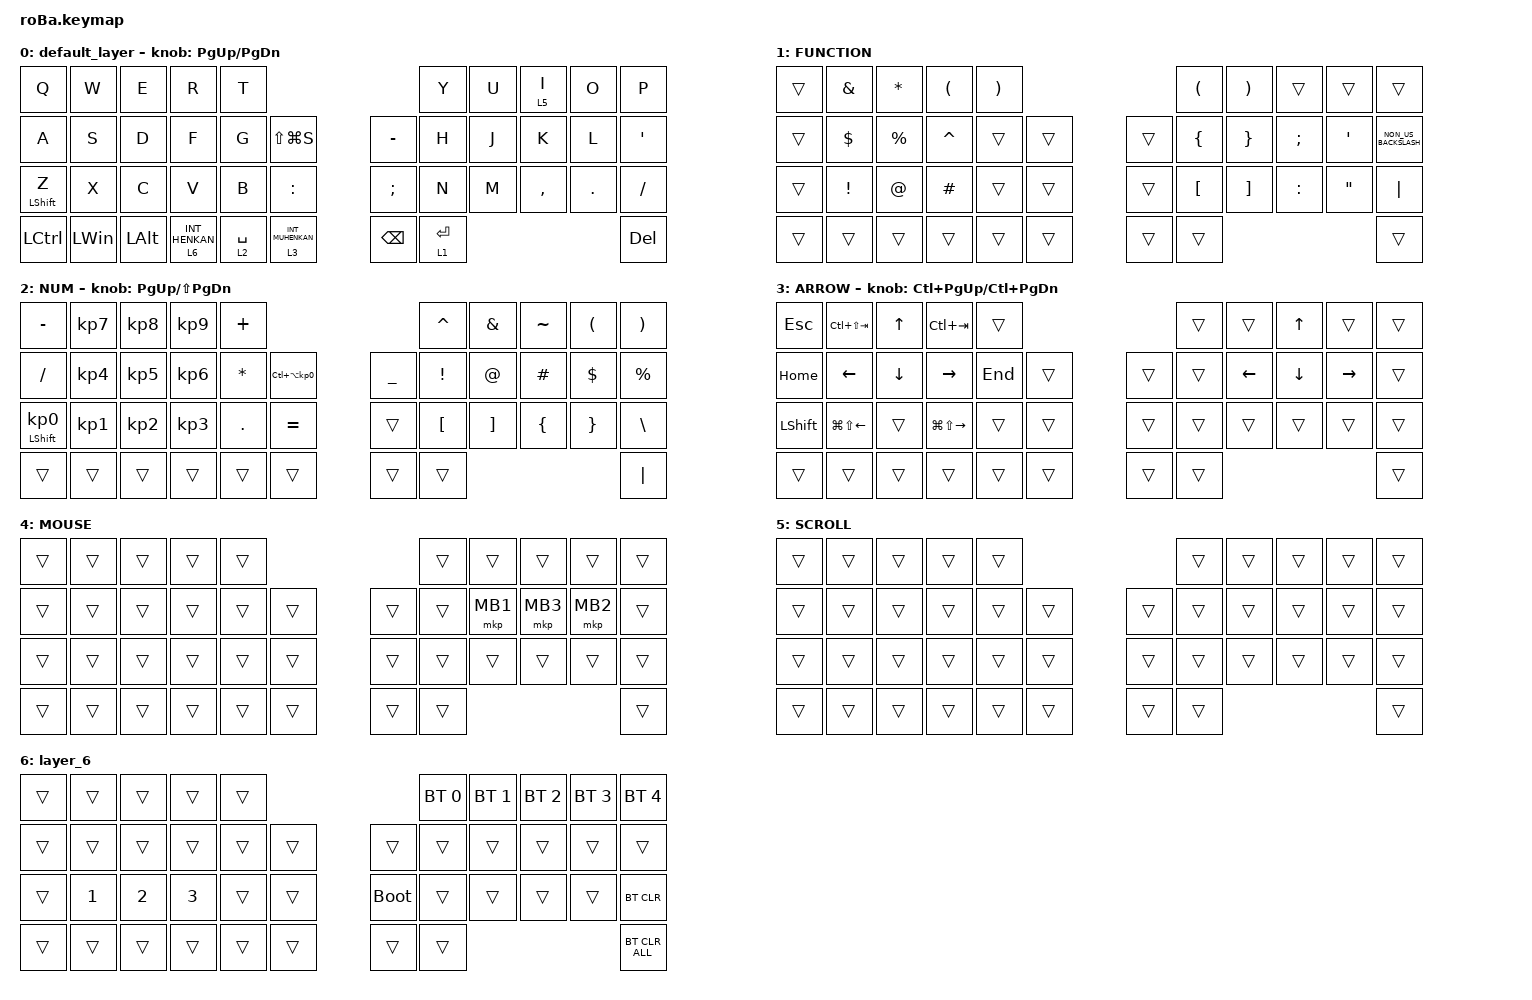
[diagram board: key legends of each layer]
#include <behaviors.dtsi>
#include <dt-bindings/zmk/bt.h>
#include <dt-bindings/zmk/keys.h>
#include <dt-bindings/zmk/pointing.h>

#define MOUSE 4
#define SCROLL 5
#define NUM 6

&mt {
    flavor = "balanced";
    quick-tap-ms = <0>;
};

/ {
    combos {
        compatible = "zmk,combos";

        tab {
            bindings = <&kp TAB>;
            key-positions = <11 12>;
        };

        shift_tab {
            bindings = <&kp LS(TAB)>;
            key-positions = <12 13>;
        };

        muhennkann {
            bindings = <&to_layer_0 INT_MUHENKAN>;
            key-positions = <11 10>;
        };

        double_quotation {
            bindings = <&kp DOUBLE_QUOTES>;
            key-positions = <20 21>;
        };

        eq {
            bindings = <&kp EQUAL>;
            key-positions = <24 25>;
        };
    };

    macros {
        to_layer_0: to_layer_0 {
            compatible = "zmk,behavior-macro-one-param";
            #binding-cells = <1>;
            bindings = <&to 0 &macro_param_1to1 &kp MACRO_PLACEHOLDER>;
            label = "TO_LAYER_0";
        };
    };

    behaviors {
        lt_to_layer_0: lt_to_layer_0 {
            compatible = "zmk,behavior-hold-tap";
            label = "LAYER_TAP_TO_0";
            bindings = <&mo>, <&to_layer_0>;

            #binding-cells = <2>;
            tapping-term-ms = <200>;
        };
    };

    keymap {
        compatible = "zmk,keymap";

        default_layer {
            bindings = <
&kp Q             &kp W         &kp E         &kp R                        &kp T                                                          &kp Y        &kp U  &lt 5 I    &kp O    &kp P
&kp A             &kp S         &kp D         &kp F                        &kp G        &kp LS(LG(S))                      &kp MINUS      &kp H        &kp J  &kp K      &kp L    &kp SQT
&mt LEFT_SHIFT Z  &kp X         &kp C         &kp V                        &kp B        &kp COLON                          &kp SEMICOLON  &kp N        &kp M  &kp COMMA  &kp DOT  &kp SLASH
&kp LCTRL         &kp LEFT_WIN  &kp LEFT_ALT  &lt_to_layer_0 6 INT_HENKAN  &lt 2 SPACE  &lt_to_layer_0 3 INT_MUHENKAN      &kp BACKSPACE  &lt 1 ENTER                             &kp DEL
            >;

            sensor-bindings = <&inc_dec_kp PG_UP PAGE_DOWN>;
        };

        FUNCTION {
            bindings = <
&trans  &kp AMPS         &kp ASTERISK  &kp LEFT_PARENTHESIS  &kp RIGHT_PARENTHESIS                      &kp LEFT_PARENTHESIS  &kp RIGHT_PARENTHESIS  &trans         &trans             &trans
&trans  &kp DOLLAR       &kp PERCENT   &kp CARET             &trans                 &trans      &trans  &kp LEFT_BRACE        &kp RIGHT_BRACE        &kp SEMICOLON  &kp SQT            &kp NON_US_BACKSLASH
&trans  &kp EXCLAMATION  &kp AT_SIGN   &kp HASH              &trans                 &trans      &trans  &kp LEFT_BRACKET      &kp RIGHT_BRACKET      &kp COLON      &kp DOUBLE_QUOTES  &kp PIPE
&trans  &trans           &trans        &trans                &trans                 &trans      &trans  &trans                                                                         &trans
            >;
        };

        NUM {
            bindings = <
&kp MINUS                   &kp KP_NUMBER_7  &kp KP_NUMBER_8  &kp KP_NUMBER_9  &kp PLUS                                                   &kp CARET         &kp AMPERSAND      &kp TILDE       &kp LEFT_PARENTHESIS  &kp RIGHT_PARENTHESIS
&kp SLASH                   &kp KP_NUMBER_4  &kp KP_NUMBER_5  &kp KP_NUMBER_6  &kp ASTERISK  &kp LC(LA(KP_NUMBER_0))      &kp UNDERSCORE  &kp EXCLAMATION   &kp AT_SIGN        &kp HASH        &kp DOLLAR            &kp PERCENT
&mt LEFT_SHIFT KP_NUMBER_0  &kp KP_NUMBER_1  &kp KP_NUMBER_2  &kp KP_NUMBER_3  &kp PERIOD    &kp EQUAL                    &trans          &kp LEFT_BRACKET  &kp RIGHT_BRACKET  &kp LEFT_BRACE  &kp RIGHT_BRACE       &kp BACKSLASH
&trans                      &trans           &trans           &trans           &trans        &trans                       &trans          &trans                                                                     &kp PIPE
            >;

            sensor-bindings = <&inc_dec_kp PG_UP LS(PAGE_DOWN)>;
        };

        ARROW {
            bindings = <
&kp ESCAPE      &kp LC(LS(TAB))         &kp UP_ARROW    &kp LC(TAB)              &trans                       &trans  &trans          &kp UP_ARROW    &trans           &trans
&kp HOME        &kp LEFT_ARROW          &kp DOWN_ARROW  &kp RIGHT_ARROW          &kp END  &trans      &trans  &trans  &kp LEFT_ARROW  &kp DOWN_ARROW  &kp RIGHT_ARROW  &trans
&kp LEFT_SHIFT  &kp LG(LS(LEFT_ARROW))  &trans          &kp LG(LS(RIGHT_ARROW))  &trans   &trans      &trans  &trans  &trans          &trans          &trans           &trans
&trans          &trans                  &trans          &trans                   &trans   &trans      &trans  &trans                                                   &trans
            >;

            sensor-bindings = <&inc_dec_kp LC(PAGE_UP) LC(PAGE_DOWN)>;
        };

        MOUSE {
            bindings = <
&trans  &trans  &trans  &trans  &trans                      &trans  &trans    &trans    &trans    &trans
&trans  &trans  &trans  &trans  &trans  &trans      &trans  &trans  &mkp MB1  &mkp MB3  &mkp MB2  &trans
&trans  &trans  &trans  &trans  &trans  &trans      &trans  &trans  &trans    &trans    &trans    &trans
&trans  &trans  &trans  &trans  &trans  &trans      &trans  &trans                                &trans
            >;
        };

        SCROLL {
            bindings = <
&trans  &trans  &trans  &trans  &trans                      &trans  &trans  &trans  &trans  &trans
&trans  &trans  &trans  &trans  &trans  &trans      &trans  &trans  &trans  &trans  &trans  &trans
&trans  &trans  &trans  &trans  &trans  &trans      &trans  &trans  &trans  &trans  &trans  &trans
&trans  &trans  &trans  &trans  &trans  &trans      &trans  &trans                          &trans
            >;
        };

        layer_6 {
            bindings = <
&trans  &trans        &trans        &trans        &trans                           &bt BT_SEL 0  &bt BT_SEL 1  &bt BT_SEL 2  &bt BT_SEL 3  &bt BT_SEL 4
&trans  &trans        &trans        &trans        &trans  &trans      &trans       &trans        &trans        &trans        &trans        &trans
&trans  &kp NUMBER_1  &kp NUMBER_2  &kp NUMBER_3  &trans  &trans      &bootloader  &trans        &trans        &trans        &trans        &bt BT_CLR
&trans  &trans        &trans        &trans        &trans  &trans      &trans       &trans                                                  &bt BT_CLR_ALL
            >;
        };
    };
};
